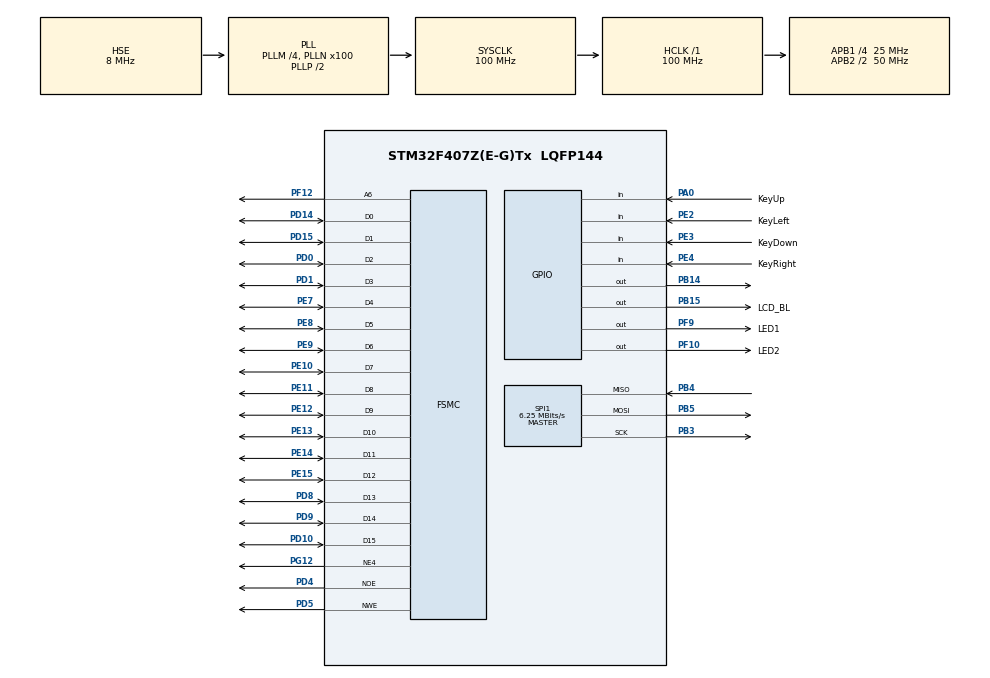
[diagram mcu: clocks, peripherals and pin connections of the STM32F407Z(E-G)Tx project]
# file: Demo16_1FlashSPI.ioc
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FSMC.AddressSetupTime4=2
FSMC.BusTurnAroundDuration4=0
FSMC.DataSetupTime4=16
FSMC.ExtendedAddressSetupTime4=4
FSMC.ExtendedBusTurnAroundDuration4=0
FSMC.ExtendedDataSetupTime4=9
FSMC.ExtendedMode4=FSMC_EXTENDED_MODE_ENABLE
Mcu.Family=STM32F4
Mcu.Name=STM32F407Z(E-G)Tx
Mcu.Package=LQFP144
NVIC.PriorityGroup=NVIC_PRIORITYGROUP_4
PA0-WKUP.GPIO_Label=KeyUp
PA0-WKUP.GPIO_PuPd=GPIO_PULLDOWN
PA0-WKUP.Signal=GPIO_Input
PA13.Mode=Serial_Wire
PA13.Signal=SYS_JTMS-SWDIO
PA14.Mode=Serial_Wire
PA14.Signal=SYS_JTCK-SWCLK
PB14.PinState=GPIO_PIN_SET
PB14.Signal=GPIO_Output
PB15.GPIO_Label=LCD_BL
PB15.PinState=GPIO_PIN_RESET
PB15.Signal=GPIO_Output
PB3.Mode=Full_Duplex_Master
PB3.Signal=SPI1_SCK
PB4.Mode=Full_Duplex_Master
PB4.Signal=SPI1_MISO
PB5.Mode=Full_Duplex_Master
PB5.Signal=SPI1_MOSI
PD0.Signal=FSMC_D2_DA2
PD1.Signal=FSMC_D3_DA3
PD10.Signal=FSMC_D15_DA15
PD14.Signal=FSMC_D0_DA0
PD15.Signal=FSMC_D1_DA1
PD4.Signal=FSMC_NOE
PD5.Signal=FSMC_NWE
PD8.Signal=FSMC_D13_DA13
PD9.Signal=FSMC_D14_DA14
PE10.Signal=FSMC_D7_DA7
PE11.Signal=FSMC_D8_DA8
PE12.Signal=FSMC_D9_DA9
PE13.Signal=FSMC_D10_DA10
PE14.Signal=FSMC_D11_DA11
PE15.Signal=FSMC_D12_DA12
PE2.GPIO_Label=KeyLeft
PE2.GPIO_PuPd=GPIO_PULLUP
PE2.Signal=GPIO_Input
PE3.GPIO_Label=KeyDown
PE3.GPIO_PuPd=GPIO_PULLUP
PE3.Signal=GPIO_Input
PE4.GPIO_Label=KeyRight
PE4.GPIO_PuPd=GPIO_PULLUP
PE4.Signal=GPIO_Input
PE7.Signal=FSMC_D4_DA4
PE8.Signal=FSMC_D5_DA5
PE9.Signal=FSMC_D6_DA6
PF10.GPIO_Label=LED2
PF10.Signal=GPIO_Output
PF12.Signal=FSMC_A6
PF9.GPIO_Label=LED1
PF9.Signal=GPIO_Output
PG12.Mode=NorPsramChipSelect4_4
PG12.Signal=FSMC_NE4
PH0-OSC_IN.Mode=HSE-External-Oscillator
PH0-OSC_IN.Signal=RCC_OSC_IN
PH1-OSC_OUT.Mode=HSE-External-Oscillator
PH1-OSC_OUT.Signal=RCC_OSC_OUT
ProjectManager.HeapSize=0x200
ProjectManager.StackSize=0x400
ProjectManager.TargetToolchain=STM32CubeIDE
RCC.48MHZClocksFreq_Value=50000000
RCC.AHBFreq_Value=100000000
RCC.APB1CLKDivider=RCC_HCLK_DIV4
RCC.APB1Freq_Value=25000000
RCC.APB1TimFreq_Value=50000000
RCC.APB2CLKDivider=RCC_HCLK_DIV2
RCC.APB2Freq_Value=50000000
RCC.APB2TimFreq_Value=100000000
RCC.CortexFreq_Value=100000000
RCC.FLatency=FLASH_LATENCY_3
RCC.HCLKFreq_Value=100000000
RCC.HSE_VALUE=8000000
RCC.HSI_VALUE=16000000
RCC.LSE_VALUE=32768
RCC.PLLM=4
RCC.PLLN=100
RCC.PLLSourceVirtual=RCC_PLLSOURCE_HSE
RCC.SYSCLKFreq_VALUE=100000000
RCC.SYSCLKSource=RCC_SYSCLKSOURCE_PLLCLK
RCC.VCOOutputFreq_Value=200000000
SH.FSMC_A6.0=FSMC_A6,A6_4
SH.FSMC_D0_DA0.0=FSMC_D0,16b-d4
SH.FSMC_D10_DA10.0=FSMC_D10,16b-d4
SH.FSMC_D11_DA11.0=FSMC_D11,16b-d4
SH.FSMC_D12_DA12.0=FSMC_D12,16b-d4
SH.FSMC_D13_DA13.0=FSMC_D13,16b-d4
SH.FSMC_D14_DA14.0=FSMC_D14,16b-d4
SH.FSMC_D15_DA15.0=FSMC_D15,16b-d4
SH.FSMC_D1_DA1.0=FSMC_D1,16b-d4
SH.FSMC_D2_DA2.0=FSMC_D2,16b-d4
SH.FSMC_D3_DA3.0=FSMC_D3,16b-d4
SH.FSMC_D4_DA4.0=FSMC_D4,16b-d4
SH.FSMC_D5_DA5.0=FSMC_D5,16b-d4
SH.FSMC_D6_DA6.0=FSMC_D6,16b-d4
SH.FSMC_D7_DA7.0=FSMC_D7,16b-d4
SH.FSMC_D8_DA8.0=FSMC_D8,16b-d4
SH.FSMC_D9_DA9.0=FSMC_D9,16b-d4
SH.FSMC_NOE.0=FSMC_NOE,Lcd4
SH.FSMC_NWE.0=FSMC_NWE,Lcd4
SPI1.BaudRatePrescaler=SPI_BAUDRATEPRESCALER_8
SPI1.CLKPhase=SPI_PHASE_2EDGE
SPI1.CLKPolarity=SPI_POLARITY_HIGH
SPI1.CalculateBaudRate=6.25 MBits/s
SPI1.Direction=SPI_DIRECTION_2LINES
SPI1.Mode=SPI_MODE_MASTER
SPI1.VirtualType=VM_MASTER
board=custom

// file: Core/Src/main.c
/* USER CODE BEGIN Header */
/**
  ******************************************************************************
  * @file           : main.c
  * @brief          : Main program body
  ******************************************************************************
  * @attention
  *
  * Copyright (c) 2023 STMicroelectronics.
  * All rights reserved.
  *
  * This software is licensed under terms that can be found in the LICENSE file
  * in the root directory of this software component.
  * If no LICENSE file comes with this software, it is provided AS-IS.
  *
  ******************************************************************************
  */
/* USER CODE END Header */
#include "main.h"
#include "spi.h"
#include "gpio.h"
#include "fsmc.h"

/* USER CODE BEGIN Includes */
#include "lcd.h"
#include "keyled.h"
#include "w25flash.h"
/* USER CODE END Includes */

void SystemClock_Config(void);

int main(void)
{

  /* MCU Configuration--------------------------------------------------------*/

  /* Reset of all peripherals, Initializes the Flash interface and the Systick. */
  HAL_Init();

  /* Configure the system clock */
  SystemClock_Config();

  /* Initialize all configured peripherals */
  MX_GPIO_Init();
  MX_FSMC_Init();
  MX_SPI1_Init();
  /* USER CODE BEGIN 2 */
  lcd_init();
  lcd_show_str(10, 0*20 + 10, 16, "Demo16_1:SPI Interface", RED);
  lcd_show_str(10, 1*20 + 10, 16, "128M-bit --Flash Memory", RED);

  Flash_TestReadStatus();

  lcd_show_str(10, 6*20 + 10, 16, "[1]KeyUp    = Erase Chip", RED);
  lcd_show_str(10, 7*20 + 10, 16, "[2]KeyDown  = Erase Block 0", RED);
  lcd_show_str(10, 8*20 + 10, 16, "[3]KeyLeft  = Write Page 0-1", RED);
  lcd_show_str(10, 9*20 + 10, 16, "[4]KeyRight = Read Page 0-1", RED);
  /* USER CODE END 2 */

  /* Infinite loop */
  /* USER CODE BEGIN WHILE */
  while (1)
  {
	  KEYS curkey = ScanPressedKey(KEY_WAIT_ALWAYS);
	  switch (curkey) {
		  case KEY_UP:
			  lcd_fill(0, 10*20 + 10, 479, 799, WHITE);
			  lcd_show_str(10,11*20 + 10, 16, "Erasing chip, about 30 sec...", RED);
			  Flash_EraseChip();
			  lcd_show_str(10,12*20 + 10, 16, "Chip is erased.              ", RED);
			  break;
		  case KEY_DOWN:
			  lcd_fill(0, 10*20 + 10, 479, 799, WHITE);
			  lcd_show_str(10,11*20 + 10, 16, "Erasing Block 0(256 pages)...", RED);
			  uint32_t globalAddr = 0;
			  Flash_EraseBlock64K(globalAddr);
			  lcd_show_str(10,12*20 + 10, 16, "Block 0 is erased.           ", RED);
			  break;
		  case KEY_LEFT:
			  lcd_fill(0, 10*20 + 10, 479, 799, WHITE);
			  Flash_TestWrite();
			  break;
		  case KEY_RIGHT:
			  lcd_fill(0, 10*20 + 10, 479, 799, WHITE);
			  Flash_TestRead();
			  break;
	  }
	  lcd_show_str(10,18*20 + 10, 16, "**Reselect menu or reset**", RED);
	  HAL_Delay(500);
    /* USER CODE END WHILE */

  }
}

void SystemClock_Config(void)
{
  RCC_OscInitTypeDef RCC_OscInitStruct = {0};
  RCC_ClkInitTypeDef RCC_ClkInitStruct = {0};

  /** Configure the main internal regulator output voltage
  */
  __HAL_RCC_PWR_CLK_ENABLE();
  __HAL_PWR_VOLTAGESCALING_CONFIG(PWR_REGULATOR_VOLTAGE_SCALE1);

  /** Initializes the RCC Oscillators according to the specified parameters
  * in the RCC_OscInitTypeDef structure.
  */
  RCC_OscInitStruct.OscillatorType = RCC_OSCILLATORTYPE_HSE;
  RCC_OscInitStruct.HSEState = RCC_HSE_ON;
  RCC_OscInitStruct.PLL.PLLState = RCC_PLL_ON;
  RCC_OscInitStruct.PLL.PLLSource = RCC_PLLSOURCE_HSE;
  RCC_OscInitStruct.PLL.PLLM = 4;
  RCC_OscInitStruct.PLL.PLLN = 100;
  RCC_OscInitStruct.PLL.PLLP = RCC_PLLP_DIV2;
  RCC_OscInitStruct.PLL.PLLQ = 4;
  if (HAL_RCC_OscConfig(&RCC_OscInitStruct) != HAL_OK)
  {
    Error_Handler();
  }

  /** Initializes the CPU, AHB and APB buses clocks
  */
  RCC_ClkInitStruct.ClockType = RCC_CLOCKTYPE_HCLK|RCC_CLOCKTYPE_SYSCLK
                              |RCC_CLOCKTYPE_PCLK1|RCC_CLOCKTYPE_PCLK2;
  RCC_ClkInitStruct.SYSCLKSource = RCC_SYSCLKSOURCE_PLLCLK;
  RCC_ClkInitStruct.AHBCLKDivider = RCC_SYSCLK_DIV1;
  RCC_ClkInitStruct.APB1CLKDivider = RCC_HCLK_DIV4;
  RCC_ClkInitStruct.APB2CLKDivider = RCC_HCLK_DIV2;

  if (HAL_RCC_ClockConfig(&RCC_ClkInitStruct, FLASH_LATENCY_3) != HAL_OK)
  {
    Error_Handler();
  }
}

void Error_Handler(void)
{
  __disable_irq();
  while (1)
  {
  }
}
